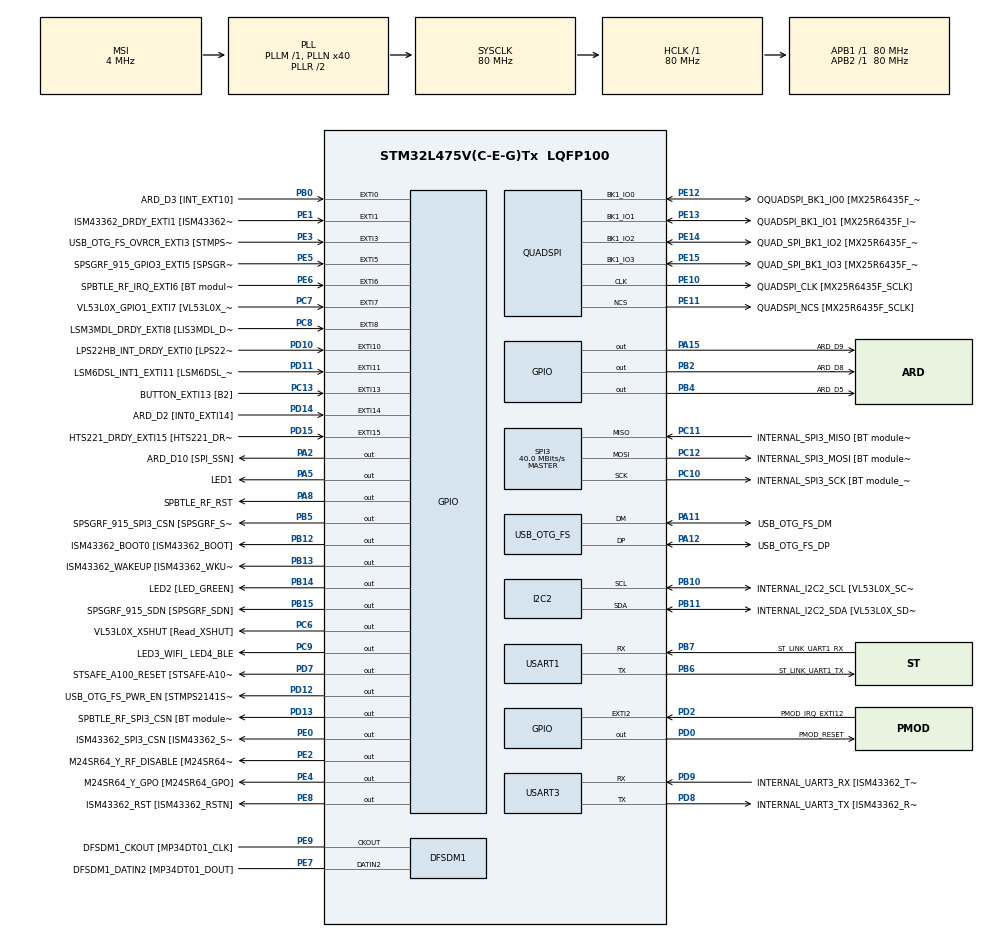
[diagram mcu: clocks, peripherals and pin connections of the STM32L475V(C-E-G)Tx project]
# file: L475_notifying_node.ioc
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FREERTOS.Tasks01=networkSetup,24,1024,networkSetupTask,Default,NULL,Dynamic,NULL,NULL;ledsBlink,32,1024,ledsBlinkTask,Default,NULL,Dynamic,NULL,NULL
FREERTOS.configTOTAL_HEAP_SIZE=9000
FREERTOS.configUSE_NEWLIB_REENTRANT=1
I2C2.Timing=0x10909CEC
Mcu.Family=STM32L4
Mcu.Name=STM32L475V(C-E-G)Tx
Mcu.Package=LQFP100
NVIC.EXTI15_10_IRQn=true\:5\:0\:false\:false\:true\:true\:true\:true\:true
NVIC.EXTI1_IRQn=true\:5\:0\:false\:false\:true\:false\:true\:true\:true
NVIC.EXTI9_5_IRQn=true\:5\:0\:false\:false\:true\:true\:true\:true\:true
NVIC.PriorityGroup=NVIC_PRIORITYGROUP_4
NVIC.SPI3_IRQn=true\:5\:0\:false\:false\:false\:false\:true\:true\:true
NVIC.TIM6_DAC_IRQn=true\:15\:0\:false\:false\:true\:false\:false\:true\:true
NVIC.TimeBase=TIM6_DAC_IRQn
NVIC.TimeBaseIP=TIM6
PA0.GPIO_Label=ARD_D1 [UART4_TX]
PA0.Signal=UART4_TX
PA1.GPIO_Label=ARD_D0 [UART4_RX]
PA1.Signal=UART4_RX
PA10.GPIO_Label=USB_OTG_FS_ID
PA10.Signal=USB_OTG_FS_ID
PA11.GPIO_Label=USB_OTG_FS_DM
PA11.Mode=Device_Only
PA11.Signal=USB_OTG_FS_DM
PA12.GPIO_Label=USB_OTG_FS_DP
PA12.Mode=Device_Only
PA12.Signal=USB_OTG_FS_DP
PA13\ (JTMS-SWDIO).GPIO_Label=SYS_JTMS_SWDIO
PA13\ (JTMS-SWDIO).Mode=Trace_Asynchronous_SW
PA13\ (JTMS-SWDIO).Signal=SYS_JTMS-SWDIO
PA14\ (JTCK-SWCLK).GPIO_Label=SYS_JTCK_SWCLK
PA14\ (JTCK-SWCLK).Mode=Trace_Asynchronous_SW
PA14\ (JTCK-SWCLK).Signal=SYS_JTCK-SWCLK
PA15\ (JTDI).GPIO_Label=ARD_D9
PA15\ (JTDI).Signal=GPIO_Output
PA2.GPIO_Label=ARD_D10 [SPI_SSN]
PA2.Signal=GPIO_Output
PA3.GPIO_Label=ARD_D4
PA3.Signal=S_TIM2_CH4
PA4.GPIO_Label=ARD_D7
PA4.Signal=ADCx_IN9
PA5.GPIO_Label=LED1
PA5.Signal=GPIO_Output
PA6.GPIO_Label=ARD_D12 [SPI1_MISO]
PA6.Signal=SPI1_MISO
PA7.GPIO_Label=ARD_D11 [SPI1_MOSI]
PA7.Signal=SPI1_MOSI
PA8.GPIO_Label=SPBTLE_RF_RST
PA8.Signal=GPIO_Output
PA9.GPIO_Label=USB_OTG_FS_VBUS [STMPS2141STR_OUT]
PA9.Signal=USB_OTG_FS_VBUS
PB0.GPIO_Label=ARD_D3 [INT_EXT10]
PB0.Signal=GPXTI0
PB1.GPIO_Label=ARD_D6 [ADC1_IN6]
PB1.Signal=ADCx_IN16
PB10.GPIO_Label=INTERNAL_I2C2_SCL [VL53L0X_SCL]
PB10.GPIO_Pu=GPIO_PULLUP
PB10.Mode=I2C
PB10.Signal=I2C2_SCL
PB11.GPIO_Label=INTERNAL_I2C2_SDA [VL53L0X_SDA]
PB11.GPIO_Pu=GPIO_PULLUP
PB11.Mode=I2C
PB11.Signal=I2C2_SDA
PB12.GPIO_Label=ISM43362_BOOT0 [ISM43362_BOOT]
PB12.Signal=GPIO_Output
PB13.GPIO_Label=ISM43362_WAKEUP [ISM43362_WKUP]
PB13.Signal=GPIO_Output
PB14.GPIO_Label=LED2 [LED_GREEN]
PB14.Signal=GPIO_Output
PB15.GPIO_Label=SPSGRF_915_SDN [SPSGRF_SDN]
PB15.Signal=GPIO_Output
PB2.GPIO_Label=ARD_D8
PB2.Signal=GPIO_Output
PB3\ (JTDO-TRACESWO).GPIO_Label=SYS_JTD0_SWO
PB3\ (JTDO-TRACESWO).Mode=Trace_Asynchronous_SW
PB3\ (JTDO-TRACESWO).Signal=SYS_JTDO-SWO
PB4\ (NJTRST).GPIO_Label=ARD_D5
PB4\ (NJTRST).Signal=GPIO_Output
PB5.GPIO_Label=SPSGRF_915_SPI3_CSN [SPSGRF_SPI_CS]
PB5.PinState=GPIO_PIN_SET
PB5.Signal=GPIO_Output
PB6.GPIO_Label=ST_LINK_UART1_TX
PB6.Mode=Asynchronous
PB6.Signal=USART1_TX
PB7.GPIO_Label=ST_LINK_UART1_RX
PB7.Mode=Asynchronous
PB7.Signal=USART1_RX
PB8.GPIO_Label=ARD_D15 [I2C1_SCL]
PB8.Signal=I2C1_SCL
PB9.GPIO_Label=ARD_D14 [I2C1_SDA]
PB9.Signal=I2C1_SDA
PC0.GPIO_Label=ARD_A5 [ADC]
PC0.Signal=ADCx_IN1
PC1.GPIO_Label=ARD_A4 [ADC]
PC1.Signal=ADCx_IN2
PC10.GPIO_Label=INTERNAL_SPI3_SCK [BT module_SPI_SCLK] [ISM43362_SCK]
PC10.Mode=Full_Duplex_Master
PC10.Signal=SPI3_SCK
PC11.GPIO_Label=INTERNAL_SPI3_MISO [BT module_SPI_MISO] [ISM43362_MISO]
PC11.Mode=Full_Duplex_Master
PC11.Signal=SPI3_MISO
PC12.GPIO_Label=INTERNAL_SPI3_MOSI [BT module_SPI_MOSI] [ISM43362_MOSI]
PC12.Mode=Full_Duplex_Master
PC12.Signal=SPI3_MOSI
PC13.GPIO_Label=BUTTON_EXTI13 [B2]
PC13.GPIO_ModeDefaultEXTI=GPIO_MODE_IT_FALLING
PC13.Signal=GPXTI13
PC14-OSC32_IN\ (PC14).Mode=LSE-External-Oscillator
PC14-OSC32_IN\ (PC14).Signal=RCC_OSC32_IN
PC15-OSC32_OUT\ (PC15).Mode=LSE-External-Oscillator
PC15-OSC32_OUT\ (PC15).Signal=RCC_OSC32_OUT
PC2.GPIO_Label=ARD_A3 [ADC]
PC2.Signal=ADCx_IN3
PC3.GPIO_Label=ARD_A2 [ADC]
PC3.Signal=ADCx_IN4
PC4.GPIO_Label=ARD_A1 [ADC]
PC4.Signal=ADCx_IN13
PC5.GPIO_Label=ARD_A0 [ADC]
PC5.Signal=ADCx_IN14
PC6.GPIO_Label=VL53L0X_XSHUT [Read_XSHUT]
PC6.Signal=GPIO_Output
PC7.GPIO_Label=VL53L0X_GPIO1_EXTI7 [VL53L0X_GPIO1]
PC7.Signal=GPXTI7
PC8.GPIO_Label=LSM3MDL_DRDY_EXTI8 [LIS3MDL_DRDY]
PC8.Signal=GPXTI8
PC9.GPIO_Label=LED3_WIFI_ LED4_BLE
PC9.Signal=GPIO_Output
PD0.GPIO_Label=PMOD_RESET
PD0.Signal=GPIO_Output
PD1.GPIO_Label=PMOD_SPI2_SCK
PD1.Signal=SPI2_SCK
PD10.GPIO_Label=LPS22HB_INT_DRDY_EXTI0 [LPS22HB_INT_DRDY] 
PD10.Signal=GPXTI10
PD11.GPIO_Label=LSM6DSL_INT1_EXTI11 [LSM6DSL_INT1]
PD11.Signal=GPXTI11
PD12.GPIO_Label=USB_OTG_FS_PWR_EN [STMPS2141STR_EN]
PD12.Signal=GPIO_Output
PD13.GPIO_Label=SPBTLE_RF_SPI3_CSN [BT module_SPI_CS]
PD13.PinState=GPIO_PIN_SET
PD13.Signal=GPIO_Output
PD14.GPIO_Label=ARD_D2 [INT0_EXTI14]
PD14.Signal=GPXTI14
PD15.GPIO_Label=HTS221_DRDY_EXTI15 [HTS221_DRDY]
PD15.Signal=GPXTI15
PD2.GPIO_Label=PMOD_IRQ_EXTI12
PD2.Signal=GPXTI2
PD3.GPIO_Label=PMOD_UART2_CTS
PD3.Signal=USART2_CTS
PD4.GPIO_Label=PMOD_UART2_RTS
PD4.Signal=USART2_RTS
PD5.GPIO_Label=PMOD_UART2_TX
PD5.Signal=USART2_TX
PD6.GPIO_Label=PMOD_UART2_RX
PD6.Signal=USART2_RX
PD7.GPIO_Label=STSAFE_A100_RESET [STSAFE-A100_RESET]
PD7.Signal=GPIO_Output
PD8.GPIO_Label=INTERNAL_UART3_TX [ISM43362_RX]
PD8.Mode=Asynchronous
PD8.Signal=USART3_TX
PD9.GPIO_Label=INTERNAL_UART3_RX [ISM43362_TX]
PD9.Mode=Asynchronous
PD9.Signal=USART3_RX
PE0.GPIO_Label=ISM43362_SPI3_CSN [ISM43362_SSN]
PE0.PinState=GPIO_PIN_SET
PE0.Signal=GPIO_Output
PE1.GPIO_Label=ISM43362_DRDY_EXTI1 [ISM43362_DATARDY]
PE1.Signal=GPXTI1
PE10.GPIO_Label=QUADSPI_CLK [MX25R6435F_SCLK]
PE10.Mode=Single Bank
PE10.Signal=QUADSPI_CLK
PE11.GPIO_Label=QUADSPI_NCS [MX25R6435F_SCLK]
PE11.Mode=Single Bank
PE11.Signal=QUADSPI_NCS
PE12.GPIO_Label=OQUADSPI_BK1_IO0 [MX25R6435F_IO0]
PE12.Mode=Single Bank
PE12.Signal=QUADSPI_BK1_IO0
PE13.GPIO_Label=QUADSPI_BK1_IO1 [MX25R6435F_IO1]
PE13.Mode=Single Bank
PE13.Signal=QUADSPI_BK1_IO1
PE14.GPIO_Label=QUAD_SPI_BK1_IO2 [MX25R6435F_IO2]
PE14.Mode=Single Bank
PE14.Signal=QUADSPI_BK1_IO2
PE15.GPIO_Label=QUAD_SPI_BK1_IO3 [MX25R6435F_IO3]
PE15.Mode=Single Bank
PE15.Signal=QUADSPI_BK1_IO3
PE2.GPIO_Label=M24SR64_Y_RF_DISABLE [M24SR64_RFDIS]
PE2.Signal=GPIO_Output
PE3.GPIO_Label=USB_OTG_FS_OVRCR_EXTI3 [STMPS2141STR_FAULT]
PE3.Signal=GPXTI3
PE4.GPIO_Label=M24SR64_Y_GPO [M24SR64_GPO]
PE4.Signal=GPIO_Output
PE5.GPIO_Label=SPSGRF_915_GPIO3_EXTI5 [SPSGRF_GPIO_3]
PE5.Signal=GPXTI5
PE6.GPIO_Label=SPBTLE_RF_IRQ_EXTI6 [BT module_SPI_IRQ]
PE6.Signal=GPXTI6
PE7.GPIO_Label=DFSDM1_DATIN2 [MP34DT01_DOUT]
PE7.Signal=S_DATAIN2DFSDM1
PE8.GPIO_Label=ISM43362_RST [ISM43362_RSTN]
PE8.Signal=GPIO_Output
PE9.GPIO_Label=DFSDM1_CKOUT [MP34DT01_CLK]
PE9.Signal=S_CKOUTDFSDM1
ProjectManager.HeapSize=0x200
ProjectManager.StackSize=0x400
ProjectManager.TargetToolchain=STM32CubeIDE
QUADSPI.ClockPrescaler=2
QUADSPI.FifoThreshold=4
QUADSPI.FlashSize=23
QUADSPI.SampleShifting=QSPI_SAMPLE_SHIFTING_HALFCYCLE
RCC.ADCFreq_Value=48000000
RCC.AHBFreq_Value=80000000
RCC.APB1Freq_Value=80000000
RCC.APB1TimFreq_Value=80000000
RCC.APB2Freq_Value=80000000
RCC.APB2TimFreq_Value=80000000
RCC.CortexFreq_Value=80000000
RCC.HCLKFreq_Value=80000000
RCC.HSE_VALUE=8000000
RCC.HSI_VALUE=16000000
RCC.MSI_VALUE=4000000
RCC.PLLN=40
RCC.PLLSAI1N=24
RCC.SYSCLKFreq_VALUE=80000000
RCC.SYSCLKSource=RCC_SYSCLKSOURCE_PLLCLK
RCC.USBFreq_Value=48000000
RCC.VCOOutputFreq_Value=160000000
SH.ADCx_IN1.0=ADC1_IN1
SH.ADCx_IN13.0=ADC1_IN13
SH.ADCx_IN14.0=ADC1_IN14
SH.ADCx_IN16.0=ADC1_IN16
SH.ADCx_IN2.0=ADC1_IN2
SH.ADCx_IN3.0=ADC1_IN3
SH.ADCx_IN4.0=ADC1_IN4
SH.ADCx_IN9.0=ADC1_IN9
SH.S_CKOUTDFSDM1.0=DFSDM1_CKOUT,CKOUT
SH.S_CKOUTDFSDM1.1=DFSDM1_CKOUT,PDM_SPI_Input_from_ch12_and_Internal_Clock
SH.S_DATAIN2DFSDM1.0=DFSDM1_DATIN2,PDM_SPI_Input_from_ch12_and_Internal_Clock
SH.S_TIM2_CH4.0=TIM2_CH4
SPI3.CalculateBaudRate=40.0 MBits/s
SPI3.Direction=SPI_DIRECTION_2LINES
SPI3.Mode=SPI_MODE_MASTER
SPI3.VirtualType=VM_MASTER
USART1.VirtualMode-Asynchronous=VM_ASYNC
USART3.VirtualMode-Asynchronous=VM_ASYNC
USB_OTG_FS.VirtualMode=Device_Only
VP_FREERTOS_VS_CMSIS_V2.Mode=CMSIS_V2
VP_SYS_VS_tim6.Mode=TIM6
board=B-L475E-IOT01A2

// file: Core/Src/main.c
/* USER CODE BEGIN Header */
/**
 ******************************************************************************
 * @file           : main.c
 * @brief          : Main program body
 ******************************************************************************
 * @attention
 *
 * Copyright (c) 2023 STMicroelectronics.
 * All rights reserved.
 *
 * This software is licensed under terms that can be found in the LICENSE file
 * in the root directory of this software component.
 * If no LICENSE file comes with this software, it is provided AS-IS.
 *
 ******************************************************************************
 */
/* USER CODE END Header */
#include "main.h"
#include "cmsis_os.h"

/* USER CODE BEGIN Includes */
#include "stdio.h"
#include "es_wifi.h"
#include "wifi.h"
#include "mqtt_priv.h"
/* USER CODE END Includes */

/* USER CODE BEGIN PM */
#define SSID     "Celia"
#define PASSWORD "holahola"
#define WIFISECURITY WIFI_ECN_WPA2_PSK
#define SOCKET 0
#define WIFI_WRITE_TIMEOUT 10
#define WIFI_READ_TIMEOUT 10
/* USER CODE END PM */

DFSDM_Channel_HandleTypeDef hdfsdm1_channel1;

I2C_HandleTypeDef hi2c2;

QSPI_HandleTypeDef hqspi;

SPI_HandleTypeDef hspi3;

UART_HandleTypeDef huart1;
UART_HandleTypeDef huart3;

PCD_HandleTypeDef hpcd_USB_OTG_FS;

/* Definitions for networkSetup */
osThreadId_t networkSetupHandle;
const osThreadAttr_t networkSetup_attributes = { .name = "networkSetup", .stack_size = 1024 * 4, .priority = (osPriority_t) osPriorityNormal, };
/* Definitions for ledsBlink */
osThreadId_t ledsBlinkHandle;
const osThreadAttr_t ledsBlink_attributes = { .name = "ledsBlink", .stack_size = 1024 * 4, .priority = (osPriority_t) osPriorityAboveNormal, };
/* USER CODE BEGIN PV */
extern SPI_HandleTypeDef hspi;
static uint8_t IP_Addr[4];
static uint8_t operationMode;
NetworkContext_t xNetworkContext = { 0 };
MQTTContext_t xMQTTContext;
/* USER CODE END PV */

void SystemClock_Config(void);
static void MX_GPIO_Init(void);
static void MX_DFSDM1_Init(void);
static void MX_I2C2_Init(void);
static void MX_QUADSPI_Init(void);
static void MX_SPI3_Init(void);
static void MX_USART1_UART_Init(void);
static void MX_USART3_UART_Init(void);
static void MX_USB_OTG_FS_PCD_Init(void);
void networkSetupTask(void *argument);
void ledsBlinkTask(void *argument);

int main(void) {

	/* MCU Configuration--------------------------------------------------------*/

	/* Reset of all peripherals, Initializes the Flash interface and the Systick. */
	HAL_Init();

	/* Configure the system clock */
	SystemClock_Config();

	/* Initialize all configured peripherals */
	MX_GPIO_Init();
	MX_DFSDM1_Init();
	MX_I2C2_Init();
	MX_QUADSPI_Init();
	MX_SPI3_Init();
	MX_USART1_UART_Init();
	MX_USART3_UART_Init();
	MX_USB_OTG_FS_PCD_Init();
	/* USER CODE BEGIN 2 */
	printf("****** Sistemas Ciberfisicos ****** \n\n");
	/* USER CODE END 2 */

	/* Init scheduler */
	osKernelInitialize();

	/* Create the thread(s) */
	/* creation of networkSetup */
	networkSetupHandle = osThreadNew(networkSetupTask, NULL, &networkSetup_attributes);

	/* creation of ledsBlink */
	ledsBlinkHandle = osThreadNew(ledsBlinkTask, NULL, &ledsBlink_attributes);

	/* Start scheduler */
	osKernelStart();

	/* We should never get here as control is now taken by the scheduler */
	/* Infinite loop */
	while (1) {

	}
}

void SystemClock_Config(void) {
	RCC_OscInitTypeDef RCC_OscInitStruct = { 0 };
	RCC_ClkInitTypeDef RCC_ClkInitStruct = { 0 };

	/** Configure the main internal regulator output voltage
	 */
	if (HAL_PWREx_ControlVoltageScaling(PWR_REGULATOR_VOLTAGE_SCALE1) != HAL_OK) {
		Error_Handler();
	}

	/** Configure LSE Drive Capability
	 */
	HAL_PWR_EnableBkUpAccess();
	__HAL_RCC_LSEDRIVE_CONFIG(RCC_LSEDRIVE_LOW);

	/** Initializes the RCC Oscillators according to the specified parameters
	 * in the RCC_OscInitTypeDef structure.
	 */
	RCC_OscInitStruct.OscillatorType = RCC_OSCILLATORTYPE_LSE | RCC_OSCILLATORTYPE_MSI;
	RCC_OscInitStruct.LSEState = RCC_LSE_ON;
	RCC_OscInitStruct.MSIState = RCC_MSI_ON;
	RCC_OscInitStruct.MSICalibrationValue = 0;
	RCC_OscInitStruct.MSIClockRange = RCC_MSIRANGE_6;
	RCC_OscInitStruct.PLL.PLLState = RCC_PLL_ON;
	RCC_OscInitStruct.PLL.PLLSource = RCC_PLLSOURCE_MSI;
	RCC_OscInitStruct.PLL.PLLM = 1;
	RCC_OscInitStruct.PLL.PLLN = 40;
	RCC_OscInitStruct.PLL.PLLP = RCC_PLLP_DIV7;
	RCC_OscInitStruct.PLL.PLLQ = RCC_PLLQ_DIV2;
	RCC_OscInitStruct.PLL.PLLR = RCC_PLLR_DIV2;
	if (HAL_RCC_OscConfig(&RCC_OscInitStruct) != HAL_OK) {
		Error_Handler();
	}

	/** Initializes the CPU, AHB and APB buses clocks
	 */
	RCC_ClkInitStruct.ClockType = RCC_CLOCKTYPE_HCLK | RCC_CLOCKTYPE_SYSCLK | RCC_CLOCKTYPE_PCLK1 | RCC_CLOCKTYPE_PCLK2;
	RCC_ClkInitStruct.SYSCLKSource = RCC_SYSCLKSOURCE_PLLCLK;
	RCC_ClkInitStruct.AHBCLKDivider = RCC_SYSCLK_DIV1;
	RCC_ClkInitStruct.APB1CLKDivider = RCC_HCLK_DIV1;
	RCC_ClkInitStruct.APB2CLKDivider = RCC_HCLK_DIV1;

	if (HAL_RCC_ClockConfig(&RCC_ClkInitStruct, FLASH_LATENCY_4) != HAL_OK) {
		Error_Handler();
	}

	/** Enable MSI Auto calibration
	 */
	HAL_RCCEx_EnableMSIPLLMode();
}

static void MX_DFSDM1_Init(void) {

	hdfsdm1_channel1.Instance = DFSDM1_Channel1;
	hdfsdm1_channel1.Init.OutputClock.Activation = ENABLE;
	hdfsdm1_channel1.Init.OutputClock.Selection = DFSDM_CHANNEL_OUTPUT_CLOCK_SYSTEM;
	hdfsdm1_channel1.Init.OutputClock.Divider = 2;
	hdfsdm1_channel1.Init.Input.Multiplexer = DFSDM_CHANNEL_EXTERNAL_INPUTS;
	hdfsdm1_channel1.Init.Input.DataPacking = DFSDM_CHANNEL_STANDARD_MODE;
	hdfsdm1_channel1.Init.Input.Pins = DFSDM_CHANNEL_FOLLOWING_CHANNEL_PINS;
	hdfsdm1_channel1.Init.SerialInterface.Type = DFSDM_CHANNEL_SPI_RISING;
	hdfsdm1_channel1.Init.SerialInterface.SpiClock = DFSDM_CHANNEL_SPI_CLOCK_INTERNAL;
	hdfsdm1_channel1.Init.Awd.FilterOrder = DFSDM_CHANNEL_FASTSINC_ORDER;
	hdfsdm1_channel1.Init.Awd.Oversampling = 1;
	hdfsdm1_channel1.Init.Offset = 0;
	hdfsdm1_channel1.Init.RightBitShift = 0x00;
	if (HAL_DFSDM_ChannelInit(&hdfsdm1_channel1) != HAL_OK) {
		Error_Handler();
	}

}

static void MX_I2C2_Init(void) {

	hi2c2.Instance = I2C2;
	hi2c2.Init.Timing = 0x10909CEC;
	hi2c2.Init.OwnAddress1 = 0;
	hi2c2.Init.AddressingMode = I2C_ADDRESSINGMODE_7BIT;
	hi2c2.Init.DualAddressMode = I2C_DUALADDRESS_DISABLE;
	hi2c2.Init.OwnAddress2 = 0;
	hi2c2.Init.OwnAddress2Masks = I2C_OA2_NOMASK;
	hi2c2.Init.GeneralCallMode = I2C_GENERALCALL_DISABLE;
	hi2c2.Init.NoStretchMode = I2C_NOSTRETCH_DISABLE;
	if (HAL_I2C_Init(&hi2c2) != HAL_OK) {
		Error_Handler();
	}

	/** Configure Analogue filter
	 */
	if (HAL_I2CEx_ConfigAnalogFilter(&hi2c2, I2C_ANALOGFILTER_ENABLE) != HAL_OK) {
		Error_Handler();
	}

	/** Configure Digital filter
	 */
	if (HAL_I2CEx_ConfigDigitalFilter(&hi2c2, 0) != HAL_OK) {
		Error_Handler();
	}

}

static void MX_QUADSPI_Init(void) {

	/* QUADSPI parameter configuration*/
	hqspi.Instance = QUADSPI;
	hqspi.Init.ClockPrescaler = 2;
	hqspi.Init.FifoThreshold = 4;
	hqspi.Init.SampleShifting = QSPI_SAMPLE_SHIFTING_HALFCYCLE;
	hqspi.Init.FlashSize = 23;
	hqspi.Init.ChipSelectHighTime = QSPI_CS_HIGH_TIME_1_CYCLE;
	hqspi.Init.ClockMode = QSPI_CLOCK_MODE_0;
	if (HAL_QSPI_Init(&hqspi) != HAL_OK) {
		Error_Handler();
	}

}

static void MX_SPI3_Init(void) {

	/* SPI3 parameter configuration*/
	hspi3.Instance = SPI3;
	hspi3.Init.Mode = SPI_MODE_MASTER;
	hspi3.Init.Direction = SPI_DIRECTION_2LINES;
	hspi3.Init.DataSize = SPI_DATASIZE_4BIT;
	hspi3.Init.CLKPolarity = SPI_POLARITY_LOW;
	hspi3.Init.CLKPhase = SPI_PHASE_1EDGE;
	hspi3.Init.NSS = SPI_NSS_SOFT;
	hspi3.Init.BaudRatePrescaler = SPI_BAUDRATEPRESCALER_2;
	hspi3.Init.FirstBit = SPI_FIRSTBIT_MSB;
	hspi3.Init.TIMode = SPI_TIMODE_DISABLE;
	hspi3.Init.CRCCalculation = SPI_CRCCALCULATION_DISABLE;
	hspi3.Init.CRCPolynomial = 7;
	hspi3.Init.CRCLength = SPI_CRC_LENGTH_DATASIZE;
	hspi3.Init.NSSPMode = SPI_NSS_PULSE_ENABLE;
	if (HAL_SPI_Init(&hspi3) != HAL_OK) {
		Error_Handler();
	}

}

static void MX_USART1_UART_Init(void) {

	huart1.Instance = USART1;
	huart1.Init.BaudRate = 115200;
	huart1.Init.WordLength = UART_WORDLENGTH_8B;
	huart1.Init.StopBits = UART_STOPBITS_1;
	huart1.Init.Parity = UART_PARITY_NONE;
	huart1.Init.Mode = UART_MODE_TX_RX;
	huart1.Init.HwFlowCtl = UART_HWCONTROL_NONE;
	huart1.Init.OverSampling = UART_OVERSAMPLING_16;
	huart1.Init.OneBitSampling = UART_ONE_BIT_SAMPLE_DISABLE;
	huart1.AdvancedInit.AdvFeatureInit = UART_ADVFEATURE_NO_INIT;
	if (HAL_UART_Init(&huart1) != HAL_OK) {
		Error_Handler();
	}

}

static void MX_USART3_UART_Init(void) {

	huart3.Instance = USART3;
	huart3.Init.BaudRate = 115200;
	huart3.Init.WordLength = UART_WORDLENGTH_8B;
	huart3.Init.StopBits = UART_STOPBITS_1;
	huart3.Init.Parity = UART_PARITY_NONE;
	huart3.Init.Mode = UART_MODE_TX_RX;
	huart3.Init.HwFlowCtl = UART_HWCONTROL_NONE;
	huart3.Init.OverSampling = UART_OVERSAMPLING_16;
	huart3.Init.OneBitSampling = UART_ONE_BIT_SAMPLE_DISABLE;
	huart3.AdvancedInit.AdvFeatureInit = UART_ADVFEATURE_NO_INIT;
	if (HAL_UART_Init(&huart3) != HAL_OK) {
		Error_Handler();
	}

}

static void MX_USB_OTG_FS_PCD_Init(void) {

	hpcd_USB_OTG_FS.Instance = USB_OTG_FS;
	hpcd_USB_OTG_FS.Init.dev_endpoints = 6;
	hpcd_USB_OTG_FS.Init.speed = PCD_SPEED_FULL;
	hpcd_USB_OTG_FS.Init.phy_itface = PCD_PHY_EMBEDDED;
	hpcd_USB_OTG_FS.Init.Sof_enable = DISABLE;
	hpcd_USB_OTG_FS.Init.low_power_enable = DISABLE;
	hpcd_USB_OTG_FS.Init.lpm_enable = DISABLE;
	hpcd_USB_OTG_FS.Init.battery_charging_enable = DISABLE;
	hpcd_USB_OTG_FS.Init.use_dedicated_ep1 = DISABLE;
	hpcd_USB_OTG_FS.Init.vbus_sensing_enable = DISABLE;
	if (HAL_PCD_Init(&hpcd_USB_OTG_FS) != HAL_OK) {
		Error_Handler();
	}

}

static void MX_GPIO_Init(void) {
	GPIO_InitTypeDef GPIO_InitStruct = { 0 };

	/* GPIO Ports Clock Enable */
	__HAL_RCC_GPIOE_CLK_ENABLE();
	__HAL_RCC_GPIOC_CLK_ENABLE();
	__HAL_RCC_GPIOA_CLK_ENABLE();
	__HAL_RCC_GPIOB_CLK_ENABLE();
	__HAL_RCC_GPIOD_CLK_ENABLE();

	/*Configure GPIO pin Output Level */
	HAL_GPIO_WritePin(GPIOE, M24SR64_Y_RF_DISABLE_Pin | M24SR64_Y_GPO_Pin | ISM43362_RST_Pin, GPIO_PIN_RESET);

	/*Configure GPIO pin Output Level */
	HAL_GPIO_WritePin(GPIOA, ARD_D10_Pin | LED1_Pin | SPBTLE_RF_RST_Pin | ARD_D9_Pin, GPIO_PIN_RESET);

	/*Configure GPIO pin Output Level */
	HAL_GPIO_WritePin(GPIOB, ARD_D8_Pin | ISM43362_BOOT0_Pin | ISM43362_WAKEUP_Pin | LED2_Pin | SPSGRF_915_SDN_Pin | ARD_D5_Pin, GPIO_PIN_RESET);

	/*Configure GPIO pin Output Level */
	HAL_GPIO_WritePin(GPIOD, USB_OTG_FS_PWR_EN_Pin | PMOD_RESET_Pin | STSAFE_A100_RESET_Pin, GPIO_PIN_RESET);

	/*Configure GPIO pin Output Level */
	HAL_GPIO_WritePin(SPBTLE_RF_SPI3_CSN_GPIO_Port, SPBTLE_RF_SPI3_CSN_Pin, GPIO_PIN_SET);

	/*Configure GPIO pin Output Level */
	HAL_GPIO_WritePin(GPIOC, VL53L0X_XSHUT_Pin | LED3_WIFI__LED4_BLE_Pin, GPIO_PIN_RESET);

	/*Configure GPIO pin Output Level */
	HAL_GPIO_WritePin(SPSGRF_915_SPI3_CSN_GPIO_Port, SPSGRF_915_SPI3_CSN_Pin, GPIO_PIN_SET);

	/*Configure GPIO pin Output Level */
	HAL_GPIO_WritePin(ISM43362_SPI3_CSN_GPIO_Port, ISM43362_SPI3_CSN_Pin, GPIO_PIN_SET);

	/*Configure GPIO pins : M24SR64_Y_RF_DISABLE_Pin M24SR64_Y_GPO_Pin ISM43362_RST_Pin ISM43362_SPI3_CSN_Pin */
	GPIO_InitStruct.Pin = M24SR64_Y_RF_DISABLE_Pin | M24SR64_Y_GPO_Pin | ISM43362_RST_Pin | ISM43362_SPI3_CSN_Pin;
	GPIO_InitStruct.Mode = GPIO_MODE_OUTPUT_PP;
	GPIO_InitStruct.Pull = GPIO_NOPULL;
	GPIO_InitStruct.Speed = GPIO_SPEED_FREQ_LOW;
	HAL_GPIO_Init(GPIOE, &GPIO_InitStruct);

	/*Configure GPIO pins : USB_OTG_FS_OVRCR_EXTI3_Pin SPSGRF_915_GPIO3_EXTI5_Pin SPBTLE_RF_IRQ_EXTI6_Pin ISM43362_DRDY_EXTI1_Pin */
	GPIO_InitStruct.Pin = USB_OTG_FS_OVRCR_EXTI3_Pin | SPSGRF_915_GPIO3_EXTI5_Pin | SPBTLE_RF_IRQ_EXTI6_Pin | ISM43362_DRDY_EXTI1_Pin;
	GPIO_InitStruct.Mode = GPIO_MODE_IT_RISING;
	GPIO_InitStruct.Pull = GPIO_NOPULL;
	HAL_GPIO_Init(GPIOE, &GPIO_InitStruct);

	/*Configure GPIO pin : BUTTON_EXTI13_Pin */
	GPIO_InitStruct.Pin = BUTTON_EXTI13_Pin;
	GPIO_InitStruct.Mode = GPIO_MODE_IT_FALLING;
	GPIO_InitStruct.Pull = GPIO_NOPULL;
	HAL_GPIO_Init(BUTTON_EXTI13_GPIO_Port, &GPIO_InitStruct);

	/*Configure GPIO pins : ARD_A5_Pin ARD_A4_Pin ARD_A3_Pin ARD_A2_Pin
	 ARD_A1_Pin ARD_A0_Pin */
	GPIO_InitStruct.Pin = ARD_A5_Pin | ARD_A4_Pin | ARD_A3_Pin | ARD_A2_Pin | ARD_A1_Pin | ARD_A0_Pin;
	GPIO_InitStruct.Mode = GPIO_MODE_ANALOG_ADC_CONTROL;
	GPIO_InitStruct.Pull = GPIO_NOPULL;
	HAL_GPIO_Init(GPIOC, &GPIO_InitStruct);

	/*Configure GPIO pins : ARD_D1_Pin ARD_D0_Pin */
	GPIO_InitStruct.Pin = ARD_D1_Pin | ARD_D0_Pin;
	GPIO_InitStruct.Mode = GPIO_MODE_AF_PP;
	GPIO_InitStruct.Pull = GPIO_NOPULL;
	GPIO_InitStruct.Speed = GPIO_SPEED_FREQ_VERY_HIGH;
	GPIO_InitStruct.Alternate = GPIO_AF8_UART4;
	HAL_GPIO_Init(GPIOA, &GPIO_InitStruct);

	/*Configure GPIO pins : ARD_D10_Pin LED1_Pin SPBTLE_RF_RST_Pin ARD_D9_Pin */
	GPIO_InitStruct.Pin = ARD_D10_Pin | LED1_Pin | SPBTLE_RF_RST_Pin | ARD_D9_Pin;
	GPIO_InitStruct.Mode = GPIO_MODE_OUTPUT_PP;
	GPIO_InitStruct.Pull = GPIO_NOPULL;
	GPIO_InitStruct.Speed = GPIO_SPEED_FREQ_LOW;
	HAL_GPIO_Init(GPIOA, &GPIO_InitStruct);

	/*Configure GPIO pin : ARD_D4_Pin */
	GPIO_InitStruct.Pin = ARD_D4_Pin;
	GPIO_InitStruct.Mode = GPIO_MODE_AF_PP;
	GPIO_InitStruct.Pull = GPIO_NOPULL;
	GPIO_InitStruct.Speed = GPIO_SPEED_FREQ_LOW;
	GPIO_InitStruct.Alternate = GPIO_AF1_TIM2;
	HAL_GPIO_Init(ARD_D4_GPIO_Port, &GPIO_InitStruct);

	/*Configure GPIO pin : ARD_D7_Pin */
	GPIO_InitStruct.Pin = ARD_D7_Pin;
	GPIO_InitStruct.Mode = GPIO_MODE_ANALOG_ADC_CONTROL;
	GPIO_InitStruct.Pull = GPIO_NOPULL;
	HAL_GPIO_Init(ARD_D7_GPIO_Port, &GPIO_InitStruct);

	/*Configure GPIO pins : ARD_D12_Pin ARD_D11_Pin */
	GPIO_InitStruct.Pin = ARD_D12_Pin | ARD_D11_Pin;
	GPIO_InitStruct.Mode = GPIO_MODE_AF_PP;
	GPIO_InitStruct.Pull = GPIO_NOPULL;
	GPIO_InitStruct.Speed = GPIO_SPEED_FREQ_VERY_HIGH;
	GPIO_InitStruct.Alternate = GPIO_AF5_SPI1;
	HAL_GPIO_Init(GPIOA, &GPIO_InitStruct);

	/*Configure GPIO pin : ARD_D3_Pin */
	GPIO_InitStruct.Pin = ARD_D3_Pin;
	GPIO_InitStruct.Mode = GPIO_MODE_IT_RISING;
	GPIO_InitStruct.Pull = GPIO_NOPULL;
	HAL_GPIO_Init(ARD_D3_GPIO_Port, &GPIO_InitStruct);

	/*Configure GPIO pin : ARD_D6_Pin */
	GPIO_InitStruct.Pin = ARD_D6_Pin;
	GPIO_InitStruct.Mode = GPIO_MODE_ANALOG_ADC_CONTROL;
	GPIO_InitStruct.Pull = GPIO_NOPULL;
	HAL_GPIO_Init(ARD_D6_GPIO_Port, &GPIO_InitStruct);

	/*Configure GPIO pins : ARD_D8_Pin ISM43362_BOOT0_Pin ISM43362_WAKEUP_Pin LED2_Pin
	 SPSGRF_915_SDN_Pin ARD_D5_Pin SPSGRF_915_SPI3_CSN_Pin */
	GPIO_InitStruct.Pin = ARD_D8_Pin | ISM43362_BOOT0_Pin | ISM43362_WAKEUP_Pin | LED2_Pin | SPSGRF_915_SDN_Pin | ARD_D5_Pin | SPSGRF_915_SPI3_CSN_Pin;
	GPIO_InitStruct.Mode = GPIO_MODE_OUTPUT_PP;
	GPIO_InitStruct.Pull = GPIO_NOPULL;
	GPIO_InitStruct.Speed = GPIO_SPEED_FREQ_LOW;
	HAL_GPIO_Init(GPIOB, &GPIO_InitStruct);

	/*Configure GPIO pins : LPS22HB_INT_DRDY_EXTI0_Pin LSM6DSL_INT1_EXTI11_Pin ARD_D2_Pin HTS221_DRDY_EXTI15_Pin
	 PMOD_IRQ_EXTI12_Pin */
	GPIO_InitStruct.Pin = LPS22HB_INT_DRDY_EXTI0_Pin | LSM6DSL_INT1_EXTI11_Pin | ARD_D2_Pin | HTS221_DRDY_EXTI15_Pin | PMOD_IRQ_EXTI12_Pin;
	GPIO_InitStruct.Mode = GPIO_MODE_IT_RISING;
	GPIO_InitStruct.Pull = GPIO_NOPULL;
	HAL_GPIO_Init(GPIOD, &GPIO_InitStruct);

	/*Configure GPIO pins : USB_OTG_FS_PWR_EN_Pin SPBTLE_RF_SPI3_CSN_Pin PMOD_RESET_Pin STSAFE_A100_RESET_Pin */
	GPIO_InitStruct.Pin = USB_OTG_FS_PWR_EN_Pin | SPBTLE_RF_SPI3_CSN_Pin | PMOD_RESET_Pin | STSAFE_A100_RESET_Pin;
	GPIO_InitStruct.Mode = GPIO_MODE_OUTPUT_PP;
	GPIO_InitStruct.Pull = GPIO_NOPULL;
	GPIO_InitStruct.Speed = GPIO_SPEED_FREQ_LOW;
	HAL_GPIO_Init(GPIOD, &GPIO_InitStruct);

	/*Configure GPIO pins : VL53L0X_XSHUT_Pin LED3_WIFI__LED4_BLE_Pin */
	GPIO_InitStruct.Pin = VL53L0X_XSHUT_Pin | LED3_WIFI__LED4_BLE_Pin;
	GPIO_InitStruct.Mode = GPIO_MODE_OUTPUT_PP;
	GPIO_InitStruct.Pull = GPIO_NOPULL;
	GPIO_InitStruct.Speed = GPIO_SPEED_FREQ_LOW;
	HAL_GPIO_Init(GPIOC, &GPIO_InitStruct);

	/*Configure GPIO pins : VL53L0X_GPIO1_EXTI7_Pin LSM3MDL_DRDY_EXTI8_Pin */
	GPIO_InitStruct.Pin = VL53L0X_GPIO1_EXTI7_Pin | LSM3MDL_DRDY_EXTI8_Pin;
	GPIO_InitStruct.Mode = GPIO_MODE_IT_RISING;
	GPIO_InitStruct.Pull = GPIO_NOPULL;
	HAL_GPIO_Init(GPIOC, &GPIO_InitStruct);

	/*Configure GPIO pin : PMOD_SPI2_SCK_Pin */
	GPIO_InitStruct.Pin = PMOD_SPI2_SCK_Pin;
	GPIO_InitStruct.Mode = GPIO_MODE_AF_PP;
	GPIO_InitStruct.Pull = GPIO_NOPULL;
	GPIO_InitStruct.Speed = GPIO_SPEED_FREQ_VERY_HIGH;
	GPIO_InitStruct.Alternate = GPIO_AF5_SPI2;
	HAL_GPIO_Init(PMOD_SPI2_SCK_GPIO_Port, &GPIO_InitStruct);

	/*Configure GPIO pins : PMOD_UART2_CTS_Pin PMOD_UART2_RTS_Pin PMOD_UART2_TX_Pin PMOD_UART2_RX_Pin */
	GPIO_InitStruct.Pin = PMOD_UART2_CTS_Pin | PMOD_UART2_RTS_Pin | PMOD_UART2_TX_Pin | PMOD_UART2_RX_Pin;
	GPIO_InitStruct.Mode = GPIO_MODE_AF_PP;
	GPIO_InitStruct.Pull = GPIO_NOPULL;
	GPIO_InitStruct.Speed = GPIO_SPEED_FREQ_VERY_HIGH;
	GPIO_InitStruct.Alternate = GPIO_AF7_USART2;
	HAL_GPIO_Init(GPIOD, &GPIO_InitStruct);

	/*Configure GPIO pins : ARD_D15_Pin ARD_D14_Pin */
	GPIO_InitStruct.Pin = ARD_D15_Pin | ARD_D14_Pin;
	GPIO_InitStruct.Mode = GPIO_MODE_AF_OD;
	GPIO_InitStruct.Pull = GPIO_NOPULL;
	GPIO_InitStruct.Speed = GPIO_SPEED_FREQ_VERY_HIGH;
	GPIO_InitStruct.Alternate = GPIO_AF4_I2C1;
	HAL_GPIO_Init(GPIOB, &GPIO_InitStruct);

	/* EXTI interrupt init*/
	HAL_NVIC_SetPriority(EXTI1_IRQn, 5, 0);
	HAL_NVIC_EnableIRQ(EXTI1_IRQn);

	HAL_NVIC_SetPriority(EXTI9_5_IRQn, 5, 0);
	HAL_NVIC_EnableIRQ(EXTI9_5_IRQn);

	HAL_NVIC_SetPriority(EXTI15_10_IRQn, 5, 0);
	HAL_NVIC_EnableIRQ(EXTI15_10_IRQn);

}

/* USER CODE BEGIN 4 */
int _write(int file, char *ptr, int len) {
	int DataIdx;
	for (DataIdx = 0; DataIdx < len; DataIdx++) {
		ITM_SendChar(*ptr++);
	}
	return len;
}
static int wifi_start(void) {
	uint8_t MAC_Addr[6];

	/*Initialize and use WIFI module */
	if (WIFI_Init() == WIFI_STATUS_OK) {
		printf("ES-WIFI Initialized.\n");
		if (WIFI_GetMAC_Address(MAC_Addr, 32) == WIFI_STATUS_OK) {
			printf("> eS-WiFi module MAC Address : %02X:%02X:%02X:%02X:%02X:%02X\n", MAC_Addr[0], MAC_Addr[1], MAC_Addr[2], MAC_Addr[3], MAC_Addr[4],
					MAC_Addr[5]);
		} else {
			printf("> ERROR : CANNOT get MAC address\n");
			return -1;
		}
	} else {
		return -1;
	}
	return 0;
}
int wifi_connect(void) {

	wifi_start();

	printf("\nConnecting to %s , %s\n", SSID, PASSWORD);
	if (WIFI_Connect(SSID, PASSWORD, WIFISECURITY) == WIFI_STATUS_OK) {
		if (WIFI_GetIP_Address(IP_Addr, 32) == WIFI_STATUS_OK) {
			printf("> es-wifi module connected: got IP Address : %d.%d.%d.%d\n", IP_Addr[0], IP_Addr[1], IP_Addr[2], IP_Addr[3]);
		} else {
			printf(" ERROR : es-wifi module CANNOT get IP address\n");
			return -1;
		}
	} else {
		printf("ERROR : es-wifi module NOT connected\n");
		return -1;
	}
	return 0;
}
void MQTTSubTask(void) {
	TransportStatus_t xNetworkStatus;
	/* Conexión al broker específico */
	xNetworkStatus = prvConnectToServer(&xNetworkContext);
	configASSERT(xNetworkStatus == PLAINTEXT_TRANSPORT_SUCCESS);
	prvCreateMQTTConnectionWithBroker(&xMQTTContext, &xNetworkContext);
	/* Subscripción a los diferentes canales. */
	prvMQTTSubscribeToTopic(&xMQTTContext, topicModoOperacion);
	for (;;) {
		if (xNetworkContext.socket_open == 0) {
			break;
		}
		MQTT_ProcessLoop(&xMQTTContext); /* Comprueba nuevos mensajes cada segundo */
		osDelay(pdMS_TO_TICKS(1000));
	}
}
void MQTTSubscribeCallback(char topic[128], char content[128]) {
	if (strcmp(topic, topicModoOperacion) == 0) {
		if (strcmp(content, MODO_NORMAL) == 0)
			operationMode = MODO_NORMAL_COD;
		else if (strcmp(content, MODO_ALARMA) == 0)
			operationMode = MODO_ALARMA_COD;
	}
}

/**
 * @brief  EXTI line detection callback.
 * @param  GPIO_Pin: Specifies the port pin connected to corresponding EXTI line.
 * @retval None
 */
void HAL_GPIO_EXTI_Callback(uint16_t GPIO_Pin) {
	switch (GPIO_Pin) {
		case (GPIO_PIN_1): {
			SPI_WIFI_ISR();
			break;
		}
		default: {
			break;
		}
	}
}

/**
 * @brief  SPI3 line detection callback.
 * @param  None
 * @retval None
 */
void SPI3_IRQHandler(void) {
	HAL_SPI_IRQHandler(&hspi);
}

/* USER CODE END 4 */

void networkSetupTask(void *argument) {
	/* USER CODE BEGIN 5 */
	  for(;;)
	  {
		  if (xNetworkContext.socket_open == 0){
			  wifi_connect();
		  }

		  MQTTSubTask();
	  }
	/* USER CODE END 5 */
}

void ledsBlinkTask(void *argument) {
	/* USER CODE BEGIN ledsBlinkTask */
	operationMode = MODO_NORMAL_COD; // Se establece por defecto el modo normal.
	/* Infinite loop */
	for (;;) {
		if (operationMode == MODO_NORMAL_COD) {
			HAL_GPIO_TogglePin(LED1_GPIO_Port, LED1_Pin);
			osDelay(pdMS_TO_TICKS(100));
			HAL_GPIO_TogglePin(LED1_GPIO_Port, LED1_Pin);
			osDelay(pdMS_TO_TICKS(3000));
		} else if (operationMode == MODO_ALARMA_COD) {
			HAL_GPIO_TogglePin(LED2_GPIO_Port, LED2_Pin);
			osDelay(pdMS_TO_TICKS(500));
			HAL_GPIO_TogglePin(LED2_GPIO_Port, LED2_Pin);
			osDelay(pdMS_TO_TICKS(2000));
		}
	}
	/* USER CODE END ledsBlinkTask */
}

void HAL_TIM_PeriodElapsedCallback(TIM_HandleTypeDef *htim) {
	if (htim->Instance == TIM6) {
		HAL_IncTick();
	}
}

void Error_Handler(void) {
	__disable_irq();
	while (1) {
	}
}
